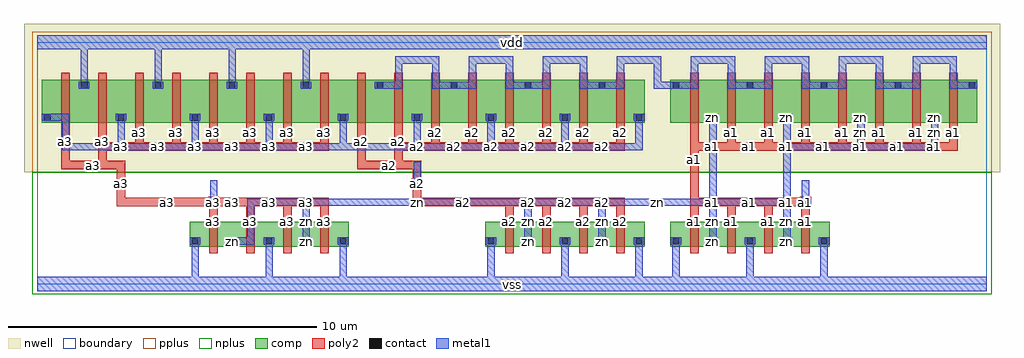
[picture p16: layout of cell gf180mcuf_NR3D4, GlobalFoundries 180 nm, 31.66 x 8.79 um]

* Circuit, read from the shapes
.subckt gf180mcuf_NR3D4 a1 a2 a3 vdd vss zn
XM1 zn a3 vss VSUBS nfet_03v3 w=0.8u l=0.28u m=4
XM2 zn a2 vss VSUBS nfet_03v3 w=0.8u l=0.28u m=4
XM3 zn a1 vss VSUBS nfet_03v3 w=0.8u l=0.28u m=4
XM4 vdd a3 n1 n2 pfet_03v3 w=1.4u l=0.28u m=8
XM5 n3 a2 n1 n2 pfet_03v3 w=1.4u l=0.28u m=8
XM6 zn a1 n3 n2 pfet_03v3 w=1.4u l=0.28u m=8
.ends

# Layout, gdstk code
import gdstk
lib = gdstk.Library(unit=1e-6, precision=1e-09)
def R(c, l, rs):  # rectangles x0, y0, x1, y1
    for r in rs: c.add(gdstk.rectangle(r[:2], r[2:], *l))
def A(c, l, x, y, w, h, nx, ny, dx, dy):  # array of equal rectangles
    R(c, l, [(x+i*dx, y+j*dy, x+i*dx+w, y+j*dy+h) for i in range(nx) for j in range(ny)])
boundary = (0, 0)
nwell = (21, 0)
comp = (22, 0)
poly2 = (30, 0)
pplus = (31, 0)
nplus = (32, 0)
contact = (33, 0)
metal1 = (34, 0)

gf180mcuf_nr3d4 = lib.new_cell('gf180mcuf_NR3D4')
R(gf180mcuf_nr3d4, boundary, [(0,0,30.8,7.84)])
R(gf180mcuf_nr3d4, nwell, [(-0.43,3.62,31.23,8.45)])
A(gf180mcuf_nr3d4, comp, 4.94, 1.215, 1.56, 0.8, 4, 1, 1.2, 0)
A(gf180mcuf_nr3d4, comp, 4.94, 1.215, 0.36, 0.36, 5, 1, 1.2, 0)
A(gf180mcuf_nr3d4, comp, 14.54, 1.215, 1.56, 0.8, 4, 1, 1.2, 0)
A(gf180mcuf_nr3d4, comp, 14.54, 1.215, 0.36, 0.36, 10, 1, 1.2, 0)
A(gf180mcuf_nr3d4, comp, 20.54, 1.215, 1.56, 0.8, 4, 1, 1.2, 0)
A(gf180mcuf_nr3d4, comp, 0.14, 5.225, 1.56, 1.4, 16, 1, 1.2, 0)
A(gf180mcuf_nr3d4, comp, 0.14, 5.225, 0.36, 0.36, 13, 1, 2.4, 0)
A(gf180mcuf_nr3d4, comp, 20.54, 5.225, 1.56, 1.4, 8, 1, 1.2, 0)
A(gf180mcuf_nr3d4, comp, 1.34, 6.265, 0.36, 0.36, 13, 1, 2.4, 0)
A(gf180mcuf_nr3d4, poly2, 5.58, 0.995, 0.28, 1.24, 4, 1, 1.2, 0)
A(gf180mcuf_nr3d4, poly2, 15.18, 0.995, 0.28, 1.24, 4, 1, 1.2, 0)
A(gf180mcuf_nr3d4, poly2, 21.18, 0.995, 0.28, 1.24, 4, 1, 1.2, 0)
A(gf180mcuf_nr3d4, poly2, 5.58, 1.255, 0.28, 1.54, 4, 1, 1.2, 0)
A(gf180mcuf_nr3d4, poly2, 15.18, 1.255, 0.28, 1.54, 4, 1, 1.2, 0)
A(gf180mcuf_nr3d4, poly2, 21.18, 1.255, 0.28, 1.54, 4, 1, 1.2, 0)
A(gf180mcuf_nr3d4, poly2, 5.58, 2.515, 1.48, 0.28, 3, 1, 1.2, 0)
A(gf180mcuf_nr3d4, poly2, 15.18, 2.515, 1.48, 0.28, 3, 1, 1.2, 0)
A(gf180mcuf_nr3d4, poly2, 21.18, 2.515, 1.48, 0.28, 3, 1, 1.2, 0)
A(gf180mcuf_nr3d4, poly2, 1.98, 4.315, 1.48, 0.28, 6, 1, 1.2, 0)
A(gf180mcuf_nr3d4, poly2, 3.18, 4.315, 0.28, 1.23, 6, 1, 1.2, 0)
A(gf180mcuf_nr3d4, poly2, 11.58, 4.315, 1.48, 0.28, 6, 1, 1.2, 0)
A(gf180mcuf_nr3d4, poly2, 12.78, 4.315, 0.28, 1.23, 6, 1, 1.2, 0)
A(gf180mcuf_nr3d4, poly2, 21.18, 4.315, 1.48, 0.28, 7, 1, 1.2, 0)
A(gf180mcuf_nr3d4, poly2, 22.38, 4.315, 0.28, 1.23, 7, 1, 1.2, 0)
A(gf180mcuf_nr3d4, poly2, 0.78, 5.005, 0.28, 1.84, 16, 1, 1.2, 0)
A(gf180mcuf_nr3d4, poly2, 21.18, 5.005, 0.28, 1.84, 8, 1, 1.2, 0)
R(gf180mcuf_nr3d4, poly2, [(5.54,2.475,5.9,2.835), (24.74,2.475,25.1,2.835), (2.58,2.515,5.86,2.795), (2.58,2.515,2.86,3.995), (12.18,2.515,15.46,2.795), (12.18,2.515,12.46,3.995), (21.18,2.515,21.46,5.545), (12.14,3.075,12.5,3.435), (0.78,3.715,2.86,3.995), (0.78,3.715,1.06,5.545), (1.98,3.715,2.26,5.545), (10.38,3.715,12.46,3.995), (10.38,3.715,10.66,5.545), (11.58,3.715,11.86,5.545)])
R(gf180mcuf_nr3d4, pplus, [(-0.16,3.62,30.96,7.5), (-0.16,7.5,30.96,8.18)])
R(gf180mcuf_nr3d4, nplus, [(-0.16,-0.34,30.96,0.34), (-0.16,0.34,30.96,3.62)])
A(gf180mcuf_nr3d4, contact, 5.01, 1.285, 0.22, 0.22, 5, 1, 1.2, 0)
A(gf180mcuf_nr3d4, contact, 14.61, 1.285, 0.22, 0.22, 10, 1, 1.2, 0)
A(gf180mcuf_nr3d4, contact, 0.21, 5.295, 0.22, 0.22, 13, 1, 2.4, 0)
A(gf180mcuf_nr3d4, contact, 1.41, 6.335, 0.22, 0.22, 13, 1, 2.4, 0)
R(gf180mcuf_nr3d4, contact, [(5.61,2.545,5.83,2.765), (24.81,2.545,25.03,2.765), (12.21,3.145,12.43,3.365)])
A(gf180mcuf_nr3d4, metal1, 5.005, 0.065, 0.23, 1.445, 3, 1, 2.4, 0)
A(gf180mcuf_nr3d4, metal1, 14.605, 0.065, 0.23, 1.445, 3, 1, 2.4, 0)
A(gf180mcuf_nr3d4, metal1, 20.605, 0.065, 0.23, 1.445, 3, 1, 2.4, 0)
A(gf180mcuf_nr3d4, metal1, 4.95, 1.28, 0.34, 0.23, 5, 1, 1.2, 0)
A(gf180mcuf_nr3d4, metal1, 14.55, 1.28, 0.34, 0.23, 10, 1, 1.2, 0)
A(gf180mcuf_nr3d4, metal1, 2.605, 4.34, 2.63, 0.23, 7, 1, 2.4, 0)
A(gf180mcuf_nr3d4, metal1, 2.605, 4.34, 0.23, 1.18, 8, 1, 2.4, 0)
A(gf180mcuf_nr3d4, metal1, 0.15, 5.29, 0.34, 0.23, 13, 1, 2.4, 0)
A(gf180mcuf_nr3d4, metal1, 1.35, 6.33, 0.34, 0.23, 13, 1, 2.4, 0)
A(gf180mcuf_nr3d4, metal1, 1.405, 6.33, 0.23, 1.445, 4, 1, 2.4, 0)
A(gf180mcuf_nr3d4, metal1, 11.605, 6.33, 0.23, 1.05, 16, 1, 1.2, 0)
A(gf180mcuf_nr3d4, metal1, 11.605, 7.15, 1.43, 0.23, 8, 1, 2.4, 0)
R(gf180mcuf_nr3d4, metal1, [(0,-0.23,30.8,0.23), (6.205,1.28,7.035,1.51), (6.805,1.28,7.035,2.77), (8.605,1.28,8.835,2.77), (15.805,1.28,16.035,2.77), (18.205,1.28,18.435,2.77), (21.805,1.28,22.035,2.77), (24.205,1.28,24.435,2.77), (5.55,2.54,5.89,2.77), (5.605,2.54,5.835,3.37), (6.805,2.54,8.835,2.77), (8.605,2.54,16.035,2.77), (15.805,2.54,18.435,2.77), (18.205,2.54,22.035,2.77), (21.805,2.54,22.035,5.52), (21.805,2.54,24.435,2.77), (24.205,2.54,24.435,5.52), (24.75,2.54,25.09,2.77), (24.805,2.54,25.035,3.37), (12.15,3.14,12.49,3.37), (12.205,3.14,12.435,3.97), (0.805,4.34,1.035,5.52), (0.805,4.34,2.835,4.57), (24.205,4.34,26.835,4.57), (26.605,4.34,29.235,4.57), (26.605,4.34,26.835,5.52), (29.005,4.34,29.235,5.52), (0.205,5.29,1.035,5.52), (11.005,6.33,11.835,6.56), (12.805,6.33,13.635,6.56), (13.405,6.33,14.235,6.56), (15.205,6.33,16.035,6.56), (15.805,6.33,16.635,6.56), (17.605,6.33,18.435,6.56), (18.205,6.33,19.035,6.56), (20.005,6.33,20.835,6.56), (20.605,6.33,21.435,6.56), (22.405,6.33,23.235,6.56), (23.005,6.33,23.835,6.56), (24.805,6.33,25.635,6.56), (25.405,6.33,26.235,6.56), (27.205,6.33,28.035,6.56), (27.805,6.33,28.635,6.56), (29.605,6.33,30.435,6.56), (0,7.61,30.8,8.07)])
gf180mcuf_nr3d4.add(gdstk.FlexPath([(0.14,0.575),(30.5,0.575)], 0, ends="flush", simple_path=True, layer=0, datatype=0))  # boundary
gf180mcuf_nr3d4.add(gdstk.FlexPath([(0.14,1.395),(30.5,1.395)], 0, ends="flush", simple_path=True, layer=0, datatype=0))  # boundary
gf180mcuf_nr3d4.add(gdstk.FlexPath([(0.14,2.655),(30.5,2.655)], 0, ends="flush", simple_path=True, layer=0, datatype=0))  # boundary
gf180mcuf_nr3d4.add(gdstk.FlexPath([(0.14,3.255),(30.5,3.255)], 0, ends="flush", simple_path=True, layer=0, datatype=0))  # boundary
gf180mcuf_nr3d4.add(gdstk.FlexPath([(0.14,3.855),(30.5,3.855)], 0, ends="flush", simple_path=True, layer=0, datatype=0))  # boundary
gf180mcuf_nr3d4.add(gdstk.FlexPath([(0.14,4.455),(30.5,4.455)], 0, ends="flush", simple_path=True, layer=0, datatype=0))  # boundary
gf180mcuf_nr3d4.add(gdstk.FlexPath([(0.14,5.405),(30.5,5.405)], 0, ends="flush", simple_path=True, layer=0, datatype=0))  # boundary
gf180mcuf_nr3d4.add(gdstk.FlexPath([(0.14,6.445),(30.5,6.445)], 0, ends="flush", simple_path=True, layer=0, datatype=0))  # boundary
gf180mcuf_nr3d4.add(gdstk.FlexPath([(0.14,7.265),(30.5,7.265)], 0, ends="flush", simple_path=True, layer=0, datatype=0))  # boundary
gf180mcuf_nr3d4.add(gdstk.FlexPath([(0.32,0.065),(0.32,7.775)], 0, ends="flush", simple_path=True, layer=0, datatype=0))  # boundary
gf180mcuf_nr3d4.add(gdstk.FlexPath([(0.92,0.065),(0.92,7.775)], 0, ends="flush", simple_path=True, layer=0, datatype=0))  # boundary
gf180mcuf_nr3d4.add(gdstk.FlexPath([(1.52,0.065),(1.52,7.775)], 0, ends="flush", simple_path=True, layer=0, datatype=0))  # boundary
gf180mcuf_nr3d4.add(gdstk.FlexPath([(2.12,0.065),(2.12,7.775)], 0, ends="flush", simple_path=True, layer=0, datatype=0))  # boundary
gf180mcuf_nr3d4.add(gdstk.FlexPath([(2.72,0.065),(2.72,7.775)], 0, ends="flush", simple_path=True, layer=0, datatype=0))  # boundary
gf180mcuf_nr3d4.add(gdstk.FlexPath([(3.32,0.065),(3.32,7.775)], 0, ends="flush", simple_path=True, layer=0, datatype=0))  # boundary
gf180mcuf_nr3d4.add(gdstk.FlexPath([(3.92,0.065),(3.92,7.775)], 0, ends="flush", simple_path=True, layer=0, datatype=0))  # boundary
gf180mcuf_nr3d4.add(gdstk.FlexPath([(4.52,0.065),(4.52,7.775)], 0, ends="flush", simple_path=True, layer=0, datatype=0))  # boundary
gf180mcuf_nr3d4.add(gdstk.FlexPath([(5.12,0.065),(5.12,7.775)], 0, ends="flush", simple_path=True, layer=0, datatype=0))  # boundary
gf180mcuf_nr3d4.add(gdstk.FlexPath([(5.72,0.065),(5.72,7.775)], 0, ends="flush", simple_path=True, layer=0, datatype=0))  # boundary
gf180mcuf_nr3d4.add(gdstk.FlexPath([(6.32,0.065),(6.32,7.775)], 0, ends="flush", simple_path=True, layer=0, datatype=0))  # boundary
gf180mcuf_nr3d4.add(gdstk.FlexPath([(6.92,0.065),(6.92,7.775)], 0, ends="flush", simple_path=True, layer=0, datatype=0))  # boundary
gf180mcuf_nr3d4.add(gdstk.FlexPath([(7.52,0.065),(7.52,7.775)], 0, ends="flush", simple_path=True, layer=0, datatype=0))  # boundary
gf180mcuf_nr3d4.add(gdstk.FlexPath([(8.12,0.065),(8.12,7.775)], 0, ends="flush", simple_path=True, layer=0, datatype=0))  # boundary
gf180mcuf_nr3d4.add(gdstk.FlexPath([(8.72,0.065),(8.72,7.775)], 0, ends="flush", simple_path=True, layer=0, datatype=0))  # boundary
gf180mcuf_nr3d4.add(gdstk.FlexPath([(9.32,0.065),(9.32,7.775)], 0, ends="flush", simple_path=True, layer=0, datatype=0))  # boundary
gf180mcuf_nr3d4.add(gdstk.FlexPath([(9.92,0.065),(9.92,7.775)], 0, ends="flush", simple_path=True, layer=0, datatype=0))  # boundary
gf180mcuf_nr3d4.add(gdstk.FlexPath([(10.52,0.065),(10.52,7.775)], 0, ends="flush", simple_path=True, layer=0, datatype=0))  # boundary
gf180mcuf_nr3d4.add(gdstk.FlexPath([(11.12,0.065),(11.12,7.775)], 0, ends="flush", simple_path=True, layer=0, datatype=0))  # boundary
gf180mcuf_nr3d4.add(gdstk.FlexPath([(11.72,0.065),(11.72,7.775)], 0, ends="flush", simple_path=True, layer=0, datatype=0))  # boundary
gf180mcuf_nr3d4.add(gdstk.FlexPath([(12.32,0.065),(12.32,7.775)], 0, ends="flush", simple_path=True, layer=0, datatype=0))  # boundary
gf180mcuf_nr3d4.add(gdstk.FlexPath([(12.92,0.065),(12.92,7.775)], 0, ends="flush", simple_path=True, layer=0, datatype=0))  # boundary
gf180mcuf_nr3d4.add(gdstk.FlexPath([(13.52,0.065),(13.52,7.775)], 0, ends="flush", simple_path=True, layer=0, datatype=0))  # boundary
gf180mcuf_nr3d4.add(gdstk.FlexPath([(14.12,0.065),(14.12,7.775)], 0, ends="flush", simple_path=True, layer=0, datatype=0))  # boundary
gf180mcuf_nr3d4.add(gdstk.FlexPath([(14.72,0.065),(14.72,7.775)], 0, ends="flush", simple_path=True, layer=0, datatype=0))  # boundary
gf180mcuf_nr3d4.add(gdstk.FlexPath([(15.32,0.065),(15.32,7.775)], 0, ends="flush", simple_path=True, layer=0, datatype=0))  # boundary
gf180mcuf_nr3d4.add(gdstk.FlexPath([(15.92,0.065),(15.92,7.775)], 0, ends="flush", simple_path=True, layer=0, datatype=0))  # boundary
gf180mcuf_nr3d4.add(gdstk.FlexPath([(16.52,0.065),(16.52,7.775)], 0, ends="flush", simple_path=True, layer=0, datatype=0))  # boundary
gf180mcuf_nr3d4.add(gdstk.FlexPath([(17.12,0.065),(17.12,7.775)], 0, ends="flush", simple_path=True, layer=0, datatype=0))  # boundary
gf180mcuf_nr3d4.add(gdstk.FlexPath([(17.72,0.065),(17.72,7.775)], 0, ends="flush", simple_path=True, layer=0, datatype=0))  # boundary
gf180mcuf_nr3d4.add(gdstk.FlexPath([(18.32,0.065),(18.32,7.775)], 0, ends="flush", simple_path=True, layer=0, datatype=0))  # boundary
gf180mcuf_nr3d4.add(gdstk.FlexPath([(18.92,0.065),(18.92,7.775)], 0, ends="flush", simple_path=True, layer=0, datatype=0))  # boundary
gf180mcuf_nr3d4.add(gdstk.FlexPath([(19.52,0.065),(19.52,7.775)], 0, ends="flush", simple_path=True, layer=0, datatype=0))  # boundary
gf180mcuf_nr3d4.add(gdstk.FlexPath([(20.12,0.065),(20.12,7.775)], 0, ends="flush", simple_path=True, layer=0, datatype=0))  # boundary
gf180mcuf_nr3d4.add(gdstk.FlexPath([(20.72,0.065),(20.72,7.775)], 0, ends="flush", simple_path=True, layer=0, datatype=0))  # boundary
gf180mcuf_nr3d4.add(gdstk.FlexPath([(21.32,0.065),(21.32,7.775)], 0, ends="flush", simple_path=True, layer=0, datatype=0))  # boundary
gf180mcuf_nr3d4.add(gdstk.FlexPath([(21.92,0.065),(21.92,7.775)], 0, ends="flush", simple_path=True, layer=0, datatype=0))  # boundary
gf180mcuf_nr3d4.add(gdstk.FlexPath([(22.52,0.065),(22.52,7.775)], 0, ends="flush", simple_path=True, layer=0, datatype=0))  # boundary
gf180mcuf_nr3d4.add(gdstk.FlexPath([(23.12,0.065),(23.12,7.775)], 0, ends="flush", simple_path=True, layer=0, datatype=0))  # boundary
gf180mcuf_nr3d4.add(gdstk.FlexPath([(23.72,0.065),(23.72,7.775)], 0, ends="flush", simple_path=True, layer=0, datatype=0))  # boundary
gf180mcuf_nr3d4.add(gdstk.FlexPath([(24.32,0.065),(24.32,7.775)], 0, ends="flush", simple_path=True, layer=0, datatype=0))  # boundary
gf180mcuf_nr3d4.add(gdstk.FlexPath([(24.92,0.065),(24.92,7.775)], 0, ends="flush", simple_path=True, layer=0, datatype=0))  # boundary
gf180mcuf_nr3d4.add(gdstk.FlexPath([(25.52,0.065),(25.52,7.775)], 0, ends="flush", simple_path=True, layer=0, datatype=0))  # boundary
gf180mcuf_nr3d4.add(gdstk.FlexPath([(26.12,0.065),(26.12,7.775)], 0, ends="flush", simple_path=True, layer=0, datatype=0))  # boundary
gf180mcuf_nr3d4.add(gdstk.FlexPath([(26.72,0.065),(26.72,7.775)], 0, ends="flush", simple_path=True, layer=0, datatype=0))  # boundary
gf180mcuf_nr3d4.add(gdstk.FlexPath([(27.32,0.065),(27.32,7.775)], 0, ends="flush", simple_path=True, layer=0, datatype=0))  # boundary
gf180mcuf_nr3d4.add(gdstk.FlexPath([(27.92,0.065),(27.92,7.775)], 0, ends="flush", simple_path=True, layer=0, datatype=0))  # boundary
gf180mcuf_nr3d4.add(gdstk.FlexPath([(28.52,0.065),(28.52,7.775)], 0, ends="flush", simple_path=True, layer=0, datatype=0))  # boundary
gf180mcuf_nr3d4.add(gdstk.FlexPath([(29.12,0.065),(29.12,7.775)], 0, ends="flush", simple_path=True, layer=0, datatype=0))  # boundary
gf180mcuf_nr3d4.add(gdstk.FlexPath([(29.72,0.065),(29.72,7.775)], 0, ends="flush", simple_path=True, layer=0, datatype=0))  # boundary
gf180mcuf_nr3d4.add(gdstk.FlexPath([(30.32,0.065),(30.32,7.775)], 0, ends="flush", simple_path=True, layer=0, datatype=0))  # boundary
gf180mcuf_nr3d4.add(gdstk.Label('zn', (6.32,1.395), layer=22, texttype=0))
gf180mcuf_nr3d4.add(gdstk.Label('zn', (8.72,1.395), layer=22, texttype=0))
gf180mcuf_nr3d4.add(gdstk.Label('zn', (15.92,1.395), layer=22, texttype=0))
gf180mcuf_nr3d4.add(gdstk.Label('zn', (18.32,1.395), layer=22, texttype=0))
gf180mcuf_nr3d4.add(gdstk.Label('zn', (21.92,1.395), layer=22, texttype=0))
gf180mcuf_nr3d4.add(gdstk.Label('zn', (24.32,1.395), layer=22, texttype=0))
gf180mcuf_nr3d4.add(gdstk.Label('zn', (21.92,5.405), layer=22, texttype=0))
gf180mcuf_nr3d4.add(gdstk.Label('zn', (24.32,5.405), layer=22, texttype=0))
gf180mcuf_nr3d4.add(gdstk.Label('zn', (26.72,5.405), layer=22, texttype=0))
gf180mcuf_nr3d4.add(gdstk.Label('zn', (29.12,5.405), layer=22, texttype=0))
gf180mcuf_nr3d4.add(gdstk.Label('a3', (5.72,2.025), layer=30, texttype=0))
gf180mcuf_nr3d4.add(gdstk.Label('a3', (6.32,2.655), layer=30, texttype=0))
gf180mcuf_nr3d4.add(gdstk.Label('a3', (6.92,2.025), layer=30, texttype=0))
gf180mcuf_nr3d4.add(gdstk.Label('a3', (7.52,2.655), layer=30, texttype=0))
gf180mcuf_nr3d4.add(gdstk.Label('a3', (8.12,2.025), layer=30, texttype=0))
gf180mcuf_nr3d4.add(gdstk.Label('a3', (8.72,2.655), layer=30, texttype=0))
gf180mcuf_nr3d4.add(gdstk.Label('a3', (9.32,2.025), layer=30, texttype=0))
gf180mcuf_nr3d4.add(gdstk.Label('a3', (4.22,2.655), layer=30, texttype=0))
gf180mcuf_nr3d4.add(gdstk.Label('a3', (2.72,3.255), layer=30, texttype=0))
gf180mcuf_nr3d4.add(gdstk.Label('a3', (1.82,3.855), layer=30, texttype=0))
gf180mcuf_nr3d4.add(gdstk.Label('a3', (0.92,4.63), layer=30, texttype=0))
gf180mcuf_nr3d4.add(gdstk.Label('a3', (2.12,4.63), layer=30, texttype=0))
gf180mcuf_nr3d4.add(gdstk.Label('a3', (2.72,4.455), layer=30, texttype=0))
gf180mcuf_nr3d4.add(gdstk.Label('a3', (3.32,4.93), layer=30, texttype=0))
gf180mcuf_nr3d4.add(gdstk.Label('a3', (3.92,4.455), layer=30, texttype=0))
gf180mcuf_nr3d4.add(gdstk.Label('a3', (4.52,4.93), layer=30, texttype=0))
gf180mcuf_nr3d4.add(gdstk.Label('a3', (5.12,4.455), layer=30, texttype=0))
gf180mcuf_nr3d4.add(gdstk.Label('a3', (5.72,4.93), layer=30, texttype=0))
gf180mcuf_nr3d4.add(gdstk.Label('a3', (6.32,4.455), layer=30, texttype=0))
gf180mcuf_nr3d4.add(gdstk.Label('a3', (6.92,4.93), layer=30, texttype=0))
gf180mcuf_nr3d4.add(gdstk.Label('a3', (7.52,4.455), layer=30, texttype=0))
gf180mcuf_nr3d4.add(gdstk.Label('a3', (8.12,4.93), layer=30, texttype=0))
gf180mcuf_nr3d4.add(gdstk.Label('a3', (8.72,4.455), layer=30, texttype=0))
gf180mcuf_nr3d4.add(gdstk.Label('a3', (9.32,4.93), layer=30, texttype=0))
gf180mcuf_nr3d4.add(gdstk.Label('a3', (5.72,2.655), layer=30, texttype=0))
gf180mcuf_nr3d4.add(gdstk.Label('a2', (15.32,2.025), layer=30, texttype=0))
gf180mcuf_nr3d4.add(gdstk.Label('a2', (15.92,2.655), layer=30, texttype=0))
gf180mcuf_nr3d4.add(gdstk.Label('a2', (16.52,2.025), layer=30, texttype=0))
gf180mcuf_nr3d4.add(gdstk.Label('a2', (17.12,2.655), layer=30, texttype=0))
gf180mcuf_nr3d4.add(gdstk.Label('a2', (17.72,2.025), layer=30, texttype=0))
gf180mcuf_nr3d4.add(gdstk.Label('a2', (18.32,2.655), layer=30, texttype=0))
gf180mcuf_nr3d4.add(gdstk.Label('a2', (18.92,2.025), layer=30, texttype=0))
gf180mcuf_nr3d4.add(gdstk.Label('a2', (13.82,2.655), layer=30, texttype=0))
gf180mcuf_nr3d4.add(gdstk.Label('a2', (12.32,3.255), layer=30, texttype=0))
gf180mcuf_nr3d4.add(gdstk.Label('a2', (11.42,3.855), layer=30, texttype=0))
gf180mcuf_nr3d4.add(gdstk.Label('a2', (10.52,4.63), layer=30, texttype=0))
gf180mcuf_nr3d4.add(gdstk.Label('a2', (11.72,4.63), layer=30, texttype=0))
gf180mcuf_nr3d4.add(gdstk.Label('a2', (12.32,4.455), layer=30, texttype=0))
gf180mcuf_nr3d4.add(gdstk.Label('a2', (12.92,4.93), layer=30, texttype=0))
gf180mcuf_nr3d4.add(gdstk.Label('a2', (13.52,4.455), layer=30, texttype=0))
gf180mcuf_nr3d4.add(gdstk.Label('a2', (14.12,4.93), layer=30, texttype=0))
gf180mcuf_nr3d4.add(gdstk.Label('a2', (14.72,4.455), layer=30, texttype=0))
gf180mcuf_nr3d4.add(gdstk.Label('a2', (15.32,4.93), layer=30, texttype=0))
gf180mcuf_nr3d4.add(gdstk.Label('a2', (15.92,4.455), layer=30, texttype=0))
gf180mcuf_nr3d4.add(gdstk.Label('a2', (16.52,4.93), layer=30, texttype=0))
gf180mcuf_nr3d4.add(gdstk.Label('a2', (17.12,4.455), layer=30, texttype=0))
gf180mcuf_nr3d4.add(gdstk.Label('a2', (17.72,4.93), layer=30, texttype=0))
gf180mcuf_nr3d4.add(gdstk.Label('a2', (18.32,4.455), layer=30, texttype=0))
gf180mcuf_nr3d4.add(gdstk.Label('a2', (18.92,4.93), layer=30, texttype=0))
gf180mcuf_nr3d4.add(gdstk.Label('a2', (12.32,3.255), layer=30, texttype=0))
gf180mcuf_nr3d4.add(gdstk.Label('a1', (21.32,2.025), layer=30, texttype=0))
gf180mcuf_nr3d4.add(gdstk.Label('a1', (21.92,2.655), layer=30, texttype=0))
gf180mcuf_nr3d4.add(gdstk.Label('a1', (22.52,2.025), layer=30, texttype=0))
gf180mcuf_nr3d4.add(gdstk.Label('a1', (23.12,2.655), layer=30, texttype=0))
gf180mcuf_nr3d4.add(gdstk.Label('a1', (23.72,2.025), layer=30, texttype=0))
gf180mcuf_nr3d4.add(gdstk.Label('a1', (24.32,2.655), layer=30, texttype=0))
gf180mcuf_nr3d4.add(gdstk.Label('a1', (24.92,2.025), layer=30, texttype=0))
gf180mcuf_nr3d4.add(gdstk.Label('a1', (21.32,4.03), layer=30, texttype=0))
gf180mcuf_nr3d4.add(gdstk.Label('a1', (21.92,4.455), layer=30, texttype=0))
gf180mcuf_nr3d4.add(gdstk.Label('a1', (22.52,4.93), layer=30, texttype=0))
gf180mcuf_nr3d4.add(gdstk.Label('a1', (23.12,4.455), layer=30, texttype=0))
gf180mcuf_nr3d4.add(gdstk.Label('a1', (23.72,4.93), layer=30, texttype=0))
gf180mcuf_nr3d4.add(gdstk.Label('a1', (24.32,4.455), layer=30, texttype=0))
gf180mcuf_nr3d4.add(gdstk.Label('a1', (24.92,4.93), layer=30, texttype=0))
gf180mcuf_nr3d4.add(gdstk.Label('a1', (25.52,4.455), layer=30, texttype=0))
gf180mcuf_nr3d4.add(gdstk.Label('a1', (26.12,4.93), layer=30, texttype=0))
gf180mcuf_nr3d4.add(gdstk.Label('a1', (26.72,4.455), layer=30, texttype=0))
gf180mcuf_nr3d4.add(gdstk.Label('a1', (27.32,4.93), layer=30, texttype=0))
gf180mcuf_nr3d4.add(gdstk.Label('a1', (27.92,4.455), layer=30, texttype=0))
gf180mcuf_nr3d4.add(gdstk.Label('a1', (28.52,4.93), layer=30, texttype=0))
gf180mcuf_nr3d4.add(gdstk.Label('a1', (29.12,4.455), layer=30, texttype=0))
gf180mcuf_nr3d4.add(gdstk.Label('a1', (29.72,4.93), layer=30, texttype=0))
gf180mcuf_nr3d4.add(gdstk.Label('a1', (24.92,2.655), layer=30, texttype=0))
gf180mcuf_nr3d4.add(gdstk.Label('zn', (6.32,1.395), layer=33, texttype=0))
gf180mcuf_nr3d4.add(gdstk.Label('zn', (8.72,1.395), layer=33, texttype=0))
gf180mcuf_nr3d4.add(gdstk.Label('zn', (15.92,1.395), layer=33, texttype=0))
gf180mcuf_nr3d4.add(gdstk.Label('zn', (18.32,1.395), layer=33, texttype=0))
gf180mcuf_nr3d4.add(gdstk.Label('zn', (21.92,1.395), layer=33, texttype=0))
gf180mcuf_nr3d4.add(gdstk.Label('zn', (24.32,1.395), layer=33, texttype=0))
gf180mcuf_nr3d4.add(gdstk.Label('zn', (21.92,5.405), layer=33, texttype=0))
gf180mcuf_nr3d4.add(gdstk.Label('zn', (24.32,5.405), layer=33, texttype=0))
gf180mcuf_nr3d4.add(gdstk.Label('zn', (26.72,5.405), layer=33, texttype=0))
gf180mcuf_nr3d4.add(gdstk.Label('zn', (29.12,5.405), layer=33, texttype=0))
gf180mcuf_nr3d4.add(gdstk.Label('a3', (5.72,2.655), layer=33, texttype=0))
gf180mcuf_nr3d4.add(gdstk.Label('a2', (12.32,3.255), layer=33, texttype=0))
gf180mcuf_nr3d4.add(gdstk.Label('a1', (24.92,2.655), layer=33, texttype=0))
gf180mcuf_nr3d4.add(gdstk.Label('zn', (6.32,1.395), layer=34, texttype=10))
gf180mcuf_nr3d4.add(gdstk.Label('zn', (8.72,1.395), layer=34, texttype=10))
gf180mcuf_nr3d4.add(gdstk.Label('zn', (15.92,1.395), layer=34, texttype=10))
gf180mcuf_nr3d4.add(gdstk.Label('zn', (18.32,1.395), layer=34, texttype=10))
gf180mcuf_nr3d4.add(gdstk.Label('zn', (21.92,1.395), layer=34, texttype=10))
gf180mcuf_nr3d4.add(gdstk.Label('zn', (24.32,1.395), layer=34, texttype=10))
gf180mcuf_nr3d4.add(gdstk.Label('zn', (21.92,5.405), layer=34, texttype=10))
gf180mcuf_nr3d4.add(gdstk.Label('zn', (24.32,5.405), layer=34, texttype=10))
gf180mcuf_nr3d4.add(gdstk.Label('zn', (26.72,5.405), layer=34, texttype=10))
gf180mcuf_nr3d4.add(gdstk.Label('zn', (29.12,5.405), layer=34, texttype=10))
gf180mcuf_nr3d4.add(gdstk.Label('zn', (6.62,1.395), layer=34, texttype=10))
gf180mcuf_nr3d4.add(gdstk.Label('zn', (6.92,2.025), layer=34, texttype=10))
gf180mcuf_nr3d4.add(gdstk.Label('zn', (7.82,2.655), layer=34, texttype=10))
gf180mcuf_nr3d4.add(gdstk.Label('zn', (8.72,2.025), layer=34, texttype=10))
gf180mcuf_nr3d4.add(gdstk.Label('zn', (12.32,2.655), layer=34, texttype=10))
gf180mcuf_nr3d4.add(gdstk.Label('zn', (15.92,2.025), layer=34, texttype=10))
gf180mcuf_nr3d4.add(gdstk.Label('zn', (17.12,2.655), layer=34, texttype=10))
gf180mcuf_nr3d4.add(gdstk.Label('zn', (18.32,2.025), layer=34, texttype=10))
gf180mcuf_nr3d4.add(gdstk.Label('zn', (20.12,2.655), layer=34, texttype=10))
gf180mcuf_nr3d4.add(gdstk.Label('zn', (21.92,2.025), layer=34, texttype=10))
gf180mcuf_nr3d4.add(gdstk.Label('zn', (23.12,2.655), layer=34, texttype=10))
gf180mcuf_nr3d4.add(gdstk.Label('zn', (24.32,2.025), layer=34, texttype=10))
gf180mcuf_nr3d4.add(gdstk.Label('zn', (21.92,4.03), layer=34, texttype=10))
gf180mcuf_nr3d4.add(gdstk.Label('zn', (24.32,4.03), layer=34, texttype=10))
gf180mcuf_nr3d4.add(gdstk.Label('zn', (25.52,4.455), layer=34, texttype=10))
gf180mcuf_nr3d4.add(gdstk.Label('zn', (26.72,4.93), layer=34, texttype=10))
gf180mcuf_nr3d4.add(gdstk.Label('zn', (27.92,4.455), layer=34, texttype=10))
gf180mcuf_nr3d4.add(gdstk.Label('zn', (29.12,4.93), layer=34, texttype=10))
gf180mcuf_nr3d4.add(gdstk.Label('a3', (5.72,2.655), layer=34, texttype=10))
gf180mcuf_nr3d4.add(gdstk.Label('a3', (5.72,2.955), layer=34, texttype=10))
gf180mcuf_nr3d4.add(gdstk.Label('a2', (12.32,3.255), layer=34, texttype=10))
gf180mcuf_nr3d4.add(gdstk.Label('a2', (12.32,3.555), layer=34, texttype=10))
gf180mcuf_nr3d4.add(gdstk.Label('a1', (24.92,2.655), layer=34, texttype=10))
gf180mcuf_nr3d4.add(gdstk.Label('a1', (24.92,2.955), layer=34, texttype=10))
gf180mcuf_nr3d4.add(gdstk.Label('vss', (15.4,0), layer=34, texttype=10))
gf180mcuf_nr3d4.add(gdstk.Label('vdd', (15.4,7.84), layer=34, texttype=10))

lib.write_gds('gf180mcuf_NR3D4.gds')
